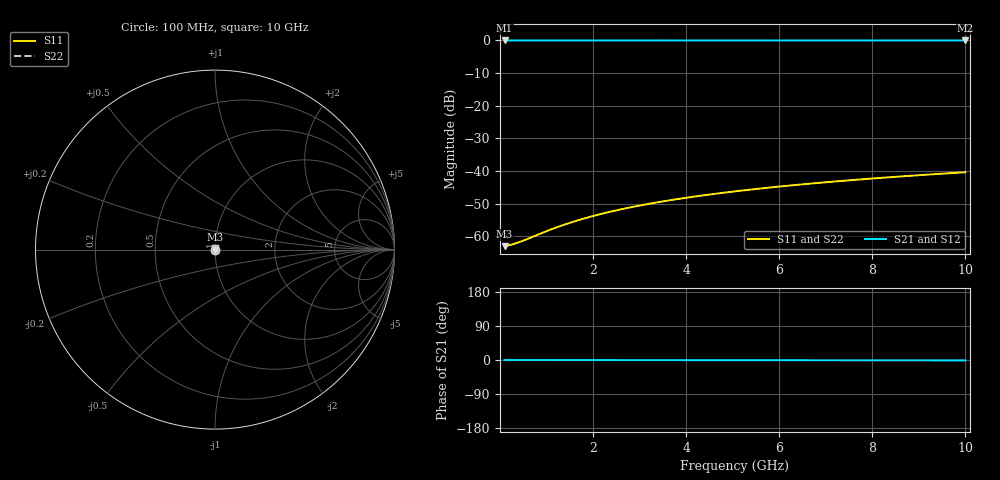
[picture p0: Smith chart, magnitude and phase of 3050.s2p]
# Hz S RI R 50.00
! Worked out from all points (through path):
!   100 points, 100 MHz to 10 GHz, reference 50 ohm
!   highest |S21| = -0.01 dB at 100 MHz (marker M1); lowest = 0.0 dB at 10 GHz (marker M2)
!   lowest |S11| = -63.0 dB at 100 MHz (marker M3), VSWR 1.00, Z = 50.1 + j0.00953 ohm
!   |S11| at or under -10 dB: start of sweep to end of sweep
!   |S22| runs from -63.0 to -40.4 dB; largest |S21 - S12| = 1e-15
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1e8  0.000698 9.51e-05  0.9993 -0.000175  0.9993 -0.000175  0.000698 9.51e-05
2e8  0.000702 0.00019  0.9993 -0.00035  0.9993 -0.00035  0.000702 0.00019
3e8  0.000706 0.000285  0.9993 -0.000525  0.9993 -0.000525  0.000706 0.000285
4e8  0.000709 0.000381  0.9993 -0.000701  0.9993 -0.000701  0.000709 0.000381
6e8  0.000713 0.000571  0.9993 -0.00105  0.9993 -0.00105  0.000713 0.000571
1e9  0.000721 0.000951  0.9993 -0.00175  0.9993 -0.00175  0.000721 0.000951
1.2e9  0.000724 0.00114  0.9993 -0.0021  0.9993 -0.0021  0.000724 0.00114
1.5e9  0.000729 0.00143  0.9993 -0.00263  0.9993 -0.00263  0.000729 0.00143
1.8e9  0.000733 0.00171  0.9993 -0.00315  0.9993 -0.00315  0.000733 0.00171
2.1e9  0.000738 0.002  0.9993 -0.00368  0.9993 -0.00368  0.000738 0.002
2.5e9  0.000744 0.00238  0.9993 -0.00438  0.9993 -0.00438  0.000744 0.00238
2.9e9  0.000751 0.00276  0.9992 -0.00508  0.9992 -0.00508  0.000751 0.00276
3.4e9  0.00076 0.00323  0.9992 -0.00595  0.9992 -0.00595  0.00076 0.00323
3.8e9  0.000767 0.00361  0.9992 -0.00666  0.9992 -0.00666  0.000767 0.00361
4.2e9  0.000775 0.004  0.9992 -0.00736  0.9992 -0.00736  0.000775 0.004
4.6e9  0.000783 0.00438  0.9992 -0.00806  0.9992 -0.00806  0.000783 0.00438
5.1e9  0.000794 0.00485  0.9992 -0.00893  0.9992 -0.00893  0.000794 0.00485
5.9e9  0.000813 0.00561  0.9992 -0.0103  0.9992 -0.0103  0.000813 0.00561
6.7e9  0.000834 0.00637  0.9991 -0.0117  0.9991 -0.0117  0.000834 0.00637
7.5e9  0.000858 0.00713  0.9991 -0.0131  0.9991 -0.0131  0.000858 0.00713
8.4e9  0.000886 0.00799  0.9991 -0.0147  0.9991 -0.0147  0.000886 0.00799
1e10  0.000944 0.00951  0.999 -0.0175  0.999 -0.0175  0.000944 0.00951
